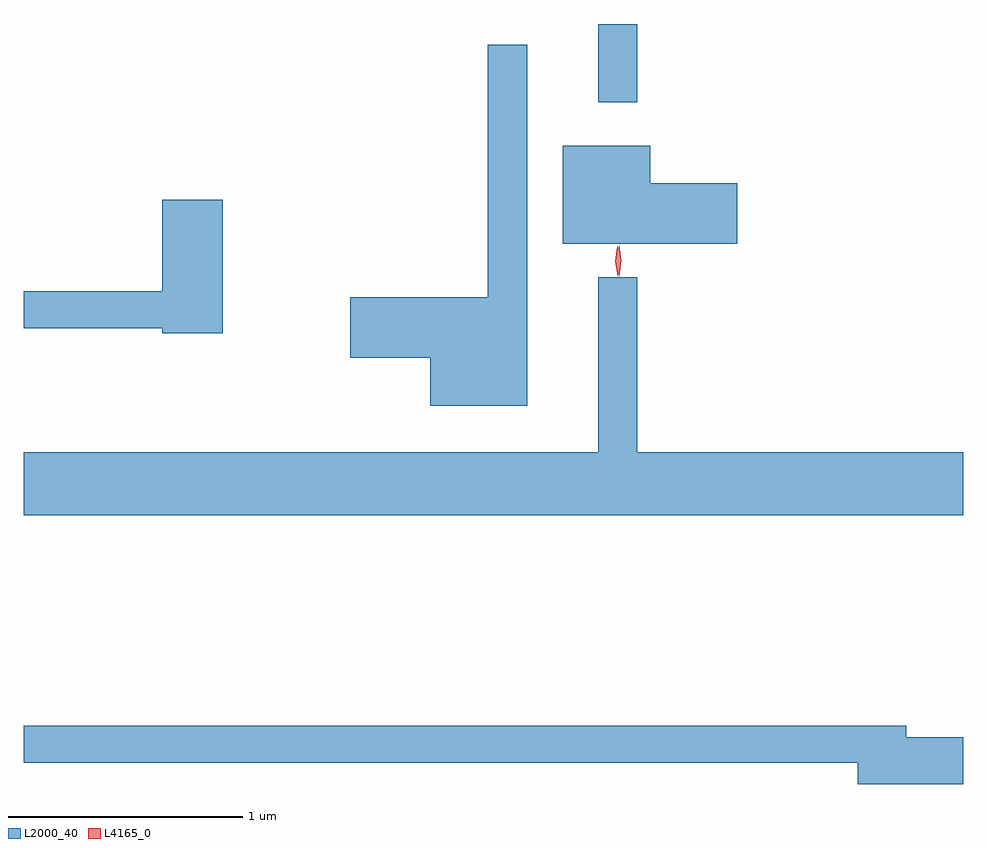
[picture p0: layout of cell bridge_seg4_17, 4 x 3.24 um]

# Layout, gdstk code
import gdstk
lib = gdstk.Library(unit=1e-6, precision=1e-09)
def R(c, l, rs):  # rectangles x0, y0, x1, y1
    for r in rs: c.add(gdstk.rectangle(r[:2], r[2:], *l))
def P(c, l, *ps):  # polygons
    for p in ps: c.add(gdstk.Polygon(p, *l))
L2000_40 = (2000, 40)
L4165_0 = (4165, 0)

bridge_seg4_17 = lib.new_cell('bridge_seg4_17')
R(bridge_seg4_17, L2000_40, [(1182.821,1351.993,1182.989,1352.327)])
P(bridge_seg4_17, L2000_40, [(1182.519,1352.238),(1182.351,1352.238),(1182.351,1351.164),(1181.766,1351.164),(1181.766,1350.906),(1182.106,1350.906),(1182.106,1350.701),(1182.519,1350.701)],
  [(1183.414,1351.649),(1183.044,1351.649),(1183.044,1351.809),(1182.671,1351.809),(1182.671,1351.391),(1183.414,1351.391)],
  [(1181.224,1351.579),(1180.966,1351.579),(1180.966,1351.189),(1180.376,1351.189),(1180.376,1351.031),(1180.966,1351.031),(1180.966,1351.011),(1181.224,1351.011)],
  [(1184.376,1350.504),(1182.989,1350.504),(1182.989,1351.248),(1182.821,1351.248),(1182.821,1350.504),(1180.376,1350.504),(1180.376,1350.236),(1184.376,1350.236)],
  [(1184.376,1349.289),(1184.134,1349.289),(1184.134,1349.339),(1180.376,1349.339),(1180.376,1349.181),(1183.926,1349.181),(1183.926,1349.091),(1184.376,1349.091)])
P(bridge_seg4_17, L4165_0, [(1182.911,1351.25),(1182.911,1351.25),(1182.901,1351.318),(1182.911,1351.386),(1182.911,1351.386),(1182.912,1351.386),(1182.921,1351.318),(1182.912,1351.25)],
  [(1182.904,1351.253),(1182.894,1351.316),(1182.903,1351.379),(1182.904,1351.38),(1182.904,1351.379),(1182.914,1351.316),(1182.906,1351.253),(1182.905,1351.253)])

lib.write_gds('bridge_seg4_17.gds')
